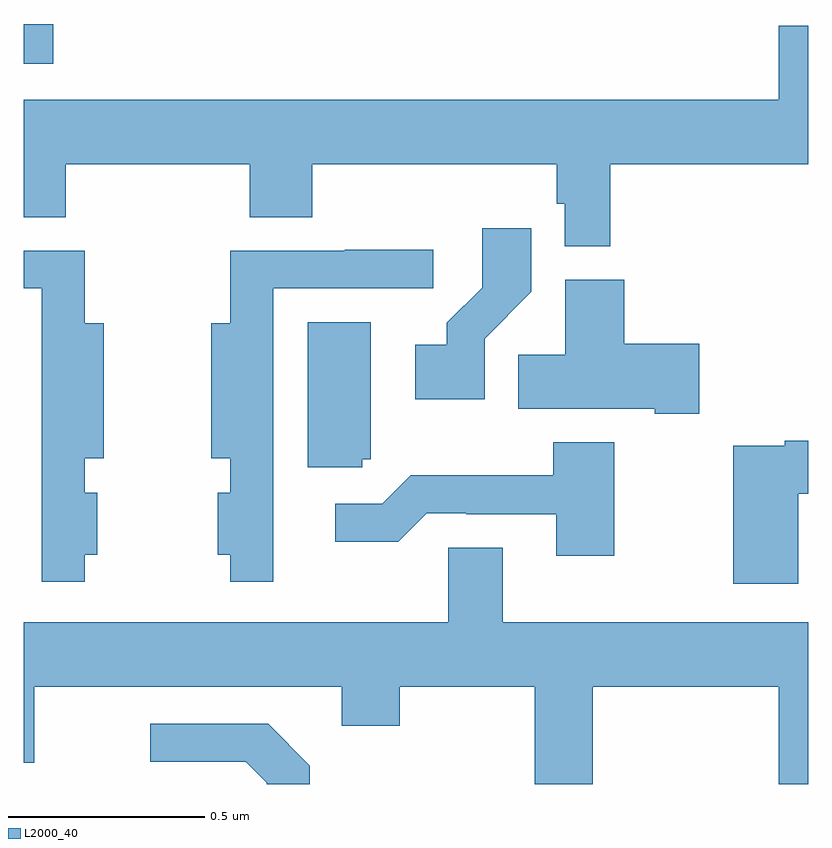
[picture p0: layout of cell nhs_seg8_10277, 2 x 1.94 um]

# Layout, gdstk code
import gdstk
lib = gdstk.Library(unit=1e-6, precision=1e-09)
def R(c, l, rs):  # rectangles x0, y0, x1, y1
    for r in rs: c.add(gdstk.rectangle(r[:2], r[2:], *l))
def P(c, l, *ps):  # polygons
    for p in ps: c.add(gdstk.Polygon(p, *l))
L2000_40 = (2000, 40)

nhs_seg8_10277 = lib.new_cell('nhs_seg8_10277')
R(nhs_seg8_10277, L2000_40, [(247,1136.736,247.075,1136.837)])
P(nhs_seg8_10277, L2000_40, [(248.495,1136.48),(249,1136.48),(249,1136.833),(248.924,1136.833),(248.924,1136.644),(247,1136.644),(247,1136.344),(247.107,1136.344),(247.107,1136.48),(247.576,1136.48),(247.576,1136.344),(247.736,1136.344),(247.736,1136.48),(248.359,1136.48),(248.359,1136.379),(248.379,1136.379),(248.379,1136.27),(248.495,1136.27)],
  [(248.175,1136.035),(248.294,1136.154),(248.294,1136.317),(248.169,1136.317),(248.169,1136.165),(248.078,1136.075),(248.078,1136.02),(247.998,1136.02),(247.998,1135.88),(248.175,1135.88)],
  [(247.636,1136.163),(248.044,1136.163),(248.044,1136.262),(247.819,1136.262),(247.819,1136.259),(247.527,1136.259),(247.527,1136.074),(247.478,1136.074),(247.478,1135.73),(247.527,1135.73),(247.527,1135.642),(247.495,1135.642),(247.495,1135.484),(247.527,1135.484),(247.527,1135.416),(247.636,1135.416)],
  [(247.156,1135.484),(247.188,1135.484),(247.188,1135.642),(247.156,1135.642),(247.156,1135.73),(247.204,1135.73),(247.204,1136.074),(247.156,1136.074),(247.156,1136.259),(247,1136.259),(247,1136.163),(247.046,1136.163),(247.046,1135.416),(247.156,1135.416)],
  [(248.722,1136.022),(248.531,1136.022),(248.531,1136.185),(248.381,1136.185),(248.381,1135.994),(248.26,1135.994),(248.26,1135.856),(248.609,1135.856),(248.609,1135.844),(248.722,1135.844)],
  [(247.863,1135.728),(247.885,1135.728),(247.885,1136.077),(247.724,1136.077),(247.724,1135.707),(247.863,1135.707)],
  [(248.974,1135.64),(249,1135.64),(249,1135.775),(248.94,1135.775),(248.94,1135.762),(248.809,1135.762),(248.809,1135.41),(248.974,1135.41)],
  [(248.505,1135.771),(248.35,1135.771),(248.35,1135.687),(247.987,1135.687),(247.914,1135.614),(247.794,1135.614),(247.794,1135.517),(247.955,1135.517),(248.028,1135.59),(248.128,1135.59),(248.128,1135.587),(248.357,1135.587),(248.357,1135.482),(248.505,1135.482)],
  [(248.451,1135.148),(248.924,1135.148),(248.924,1134.9),(249,1134.9),(249,1135.312),(248.221,1135.312),(248.221,1135.502),(248.082,1135.502),(248.082,1135.312),(247,1135.312),(247,1134.954),(247.027,1134.954),(247.027,1135.148),(247.811,1135.148),(247.811,1135.049),(247.959,1135.049),(247.959,1135.148),(248.303,1135.148),(248.303,1134.9),(248.451,1134.9)],
  [(247.729,1134.947),(247.623,1135.053),(247.323,1135.053),(247.323,1134.957),(247.566,1134.957),(247.62,1134.903),(247.62,1134.9),(247.729,1134.9)])

lib.write_gds('nhs_seg8_10277.gds')
